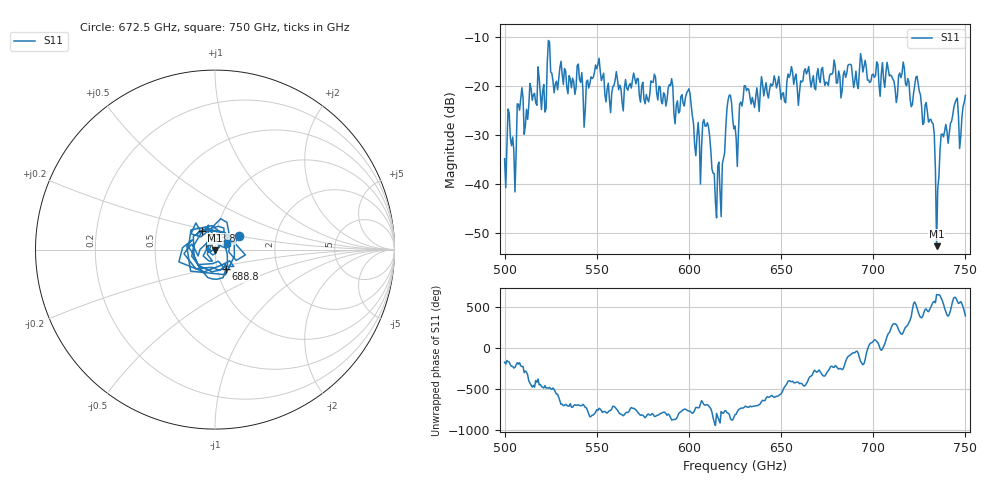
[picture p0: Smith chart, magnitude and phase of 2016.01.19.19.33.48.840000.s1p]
!Created with skrf (http://scikit-rf.org).
# GHz S RI R 50.0
!freq ReS11 ImS11
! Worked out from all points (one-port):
!   401 points, 500 GHz to 750 GHz, reference 50 ohm
!   lowest |S11| = -52.7 dB at 734.4 GHz (marker M1), VSWR 1.00, Z = 50.1 - j0.219 ohm
!   |S11| at or under -10 dB: start of sweep to end of sweep
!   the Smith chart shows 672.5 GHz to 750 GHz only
!   S11 on the Smith chart (normalised r, x): 672.5 GHz: 1.29, +0.20; 688.8 GHz: 1.10, -0.24; 723.8 GHz: 0.85, +0.18; 750 GHz: 1.15, +0.09
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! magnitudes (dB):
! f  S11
! 500 GHz  -34.9
! 503.1 GHz  -30.7
! 505 GHz  -33.2
! 508.1 GHz  -25.0
! 511.9 GHz  -24.8
! 521.2 GHz  -19.8
! 524.4 GHz  -11.2
! 531.2 GHz  -17.7
! 562.5 GHz  -19.9
! 590 GHz  -20.0
! 593.8 GHz  -23.1
! 600 GHz  -20.6
! 605 GHz  -27.5
! 609.4 GHz  -28.2
! 616.2 GHz  -35.6
! 621.9 GHz  -21.9
! 625 GHz  -28.2
! 631.2 GHz  -21.0
! 656.2 GHz  -17.2
! 672.5 GHz  -16.3
! 687.5 GHz  -15.6
! 688.8 GHz  -18.2
! 718.8 GHz  -18.5
! 723.8 GHz  -18.1
! 731.9 GHz  -27.5
! 734.4 GHz  -52.7
! 738.1 GHz  -30.4
! 750 GHz  -22.0
